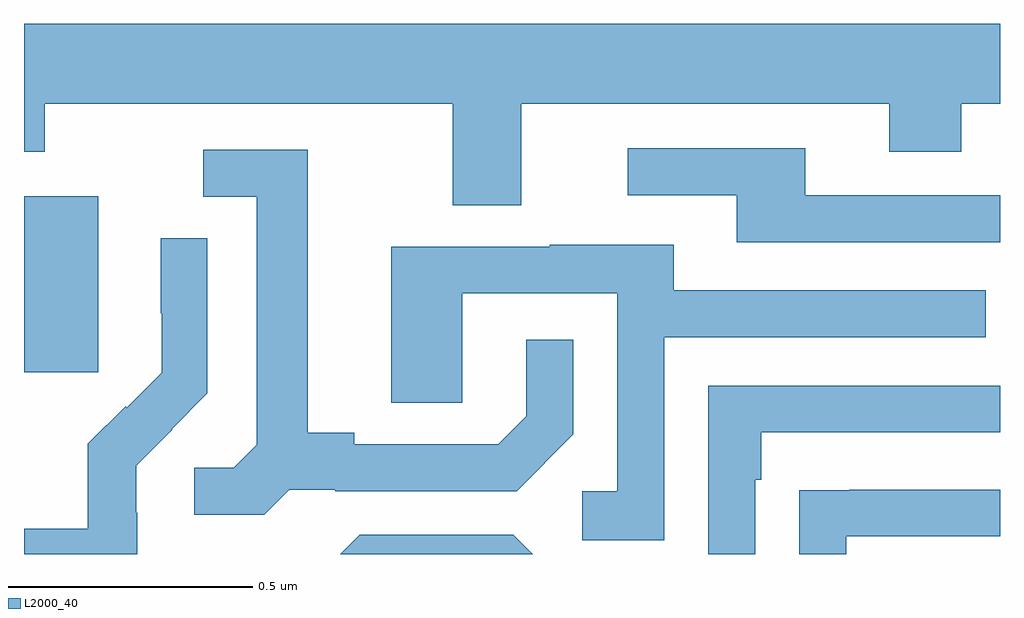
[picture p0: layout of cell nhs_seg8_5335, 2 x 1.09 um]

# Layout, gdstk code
import gdstk
lib = gdstk.Library(unit=1e-6, precision=1e-09)
def R(c, l, rs):  # rectangles x0, y0, x1, y1
    for r in rs: c.add(gdstk.rectangle(r[:2], r[2:], *l))
def P(c, l, *ps):  # polygons
    for p in ps: c.add(gdstk.Polygon(p, *l))
L2000_40 = (2000, 40)

nhs_seg8_5335 = lib.new_cell('nhs_seg8_5335')
R(nhs_seg8_5335, L2000_40, [(182,1125.273,182.152,1125.634)])
P(nhs_seg8_5335, L2000_40, [(183.019,1125.824),(183.773,1125.824),(183.773,1125.725),(183.921,1125.725),(183.921,1125.824),(184,1125.824),(184,1125.988),(182,1125.988),(182,1125.725),(182.043,1125.725),(182.043,1125.824),(182.879,1125.824),(182.879,1125.616),(183.019,1125.616)],
  [(184,1125.636),(183.601,1125.636),(183.601,1125.732),(183.237,1125.732),(183.237,1125.636),(183.461,1125.636),(183.461,1125.54),(184,1125.54)],
  [(182.544,1125.033),(182.638,1125.033),(182.638,1125.03),(183.01,1125.03),(183.126,1125.146),(183.126,1125.34),(183.029,1125.34),(183.029,1125.183),(182.972,1125.126),(182.677,1125.126),(182.677,1125.149),(182.581,1125.149),(182.581,1125.729),(182.367,1125.729),(182.367,1125.633),(182.477,1125.633),(182.477,1125.125),(182.43,1125.078),(182.349,1125.078),(182.349,1124.981),(182.492,1124.981)],
  [(182.232,1124.985),(182.23,1124.985),(182.23,1125.082),(182.304,1125.156),(182.303,1125.157),(182.376,1125.23),(182.376,1125.548),(182.28,1125.548),(182.28,1125.394),(182.282,1125.394),(182.282,1125.272),(182.211,1125.201),(182.208,1125.204),(182.131,1125.127),(182.131,1124.953),(182,1124.953),(182,1124.9),(182.232,1124.9)],
  [(183.312,1125.345),(183.971,1125.345),(183.971,1125.441),(183.331,1125.441),(183.331,1125.535),(183.077,1125.535),(183.077,1125.531),(182.753,1125.531),(182.753,1125.211),(182.898,1125.211),(182.898,1125.435),(183.216,1125.435),(183.216,1125.03),(183.144,1125.03),(183.144,1124.929),(183.312,1124.929)],
  [(183.498,1125.053),(183.511,1125.053),(183.511,1125.15),(184,1125.15),(184,1125.246),(183.402,1125.246),(183.402,1124.9),(183.498,1124.9)],
  [(183.685,1124.937),(184,1124.937),(184,1125.033),(183.691,1125.033),(183.691,1125.032),(183.589,1125.032),(183.589,1124.9),(183.685,1124.9)],
  [(183.003,1124.94),(182.688,1124.94),(182.648,1124.9),(183.043,1124.9)])

lib.write_gds('nhs_seg8_5335.gds')
